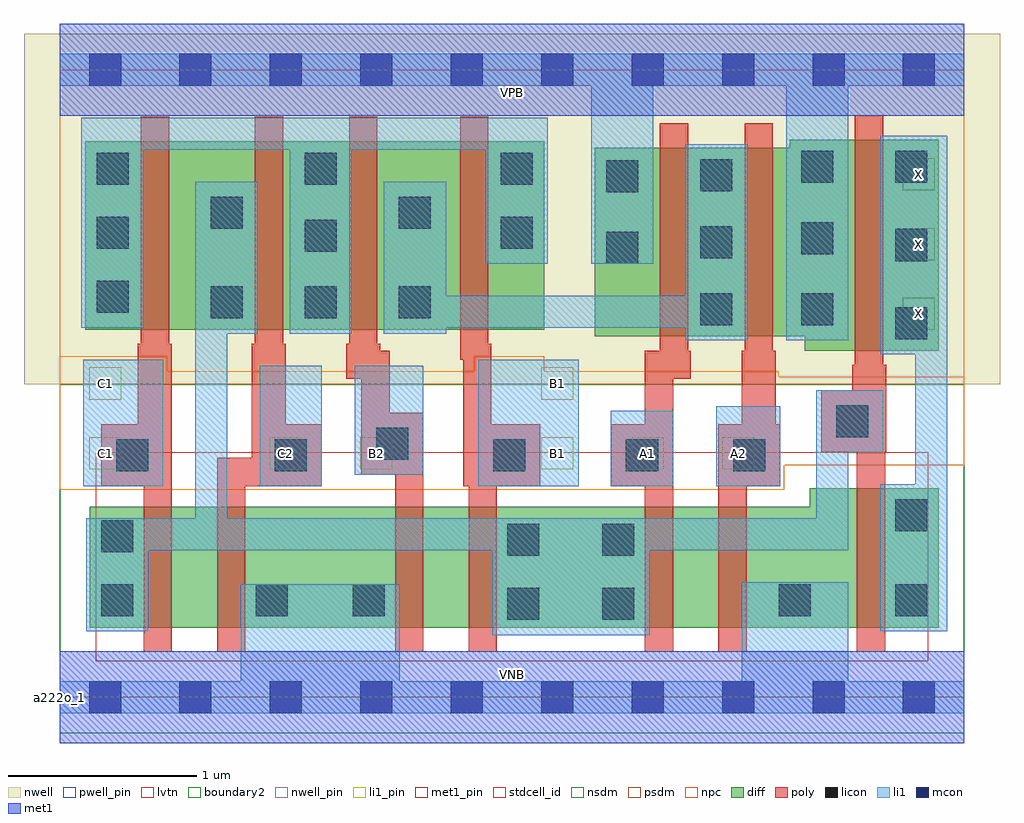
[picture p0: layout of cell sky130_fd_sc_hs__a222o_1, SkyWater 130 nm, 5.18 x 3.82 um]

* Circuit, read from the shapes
.subckt sky130_fd_sc_hs__a222o_1 A1 A2 B1 B2 C1 C2 VGND VNB VPB VPWR X
XM1 n1 C1 n2 VNB sky130_fd_pr__nfet_01v8_lvt w=0.64 l=0.15
XM2 VGND C2 n1 VNB sky130_fd_pr__nfet_01v8_lvt w=0.64 l=0.15
XM3 n3 B2 VGND VNB sky130_fd_pr__nfet_01v8_lvt w=0.64 l=0.15
XM4 n2 B1 n3 VNB sky130_fd_pr__nfet_01v8_lvt w=0.64 l=0.15
XM5 n4 A1 n2 VNB sky130_fd_pr__nfet_01v8_lvt w=0.64 l=0.15
XM6 VGND A2 n4 VNB sky130_fd_pr__nfet_01v8_lvt w=0.64 l=0.15
XM7 X n2 VGND VNB sky130_fd_pr__nfet_01v8_lvt w=0.74 l=0.15
XM8 n2 C1 n5 VPB sky130_fd_pr__pfet_01v8 w=1 l=0.15
XM9 n5 C2 n2 VPB sky130_fd_pr__pfet_01v8 w=1 l=0.15
XM10 n6 B2 n5 VPB sky130_fd_pr__pfet_01v8 w=1 l=0.15
XM11 n5 B1 n6 VPB sky130_fd_pr__pfet_01v8 w=1 l=0.15
XM12 n6 A1 VPWR VPB sky130_fd_pr__pfet_01v8 w=1 l=0.15
XM13 VPWR A2 n6 VPB sky130_fd_pr__pfet_01v8 w=1 l=0.15
XM14 X n2 VPWR VPB sky130_fd_pr__pfet_01v8 w=1.12 l=0.15
.ends

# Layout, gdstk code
import gdstk
lib = gdstk.Library(unit=1e-6, precision=1e-09)
def R(c, l, rs):  # rectangles x0, y0, x1, y1
    for r in rs: c.add(gdstk.rectangle(r[:2], r[2:], *l))
def A(c, l, x, y, w, h, nx, ny, dx, dy):  # array of equal rectangles
    R(c, l, [(x+i*dx, y+j*dy, x+i*dx+w, y+j*dy+h) for i in range(nx) for j in range(ny)])
def P(c, l, *ps):  # polygons
    for p in ps: c.add(gdstk.Polygon(p, *l))
nwell_pin = (64, 16)
nwell = (64, 20)
diff = (65, 20)
poly = (66, 20)
licon = (66, 44)
li1_pin = (67, 16)
li1 = (67, 20)
mcon = (67, 44)
met1_pin = (68, 16)
met1 = (68, 20)
stdcell_id = (81, 4)
nsdm = (93, 44)
psdm = (94, 20)
npc = (95, 20)
pwell_pin = (122, 16)
lvtn = (125, 44)
boundary2 = (236, 0)

sky130_fd_sc_hs__a222o_1 = lib.new_cell('sky130_fd_sc_hs__a222o_1')
R(sky130_fd_sc_hs__a222o_1, nwell_pin, [(0,3.085,4.8,3.33)])
R(sky130_fd_sc_hs__a222o_1, nwell, [(-0.19,1.66,4.99,3.52)])
R(sky130_fd_sc_hs__a222o_1, diff, [(0.135,1.95,2.57,2.95)])
P(sky130_fd_sc_hs__a222o_1, diff, [(4.665,2.96),(3.875,2.96),(3.875,2.915),(2.84,2.915),(2.84,1.915),(3.955,1.915),(3.955,1.84),(4.665,1.84)],
  [(4.665,1.11),(3.98,1.11),(3.98,1.01),(0.16,1.01),(0.16,0.37),(4.665,0.37)])
P(sky130_fd_sc_hs__a222o_1, poly, [(3.35,1.84),(3.335,1.84),(3.335,3.045),(3.185,3.045),(3.185,1.84),(3.105,1.84),(3.105,1.45),(2.925,1.45),(2.925,1.12),(3.105,1.12),(3.105,0.24),(3.255,0.24),(3.255,1.69),(3.35,1.69)],
  [(3.825,1.45),(3.8,1.45),(3.8,1.84),(3.785,1.84),(3.785,3.045),(3.635,3.045),(3.635,1.84),(3.62,1.84),(3.62,1.45),(3.495,1.45),(3.495,0.24),(3.645,0.24),(3.645,1.12),(3.825,1.12)],
  [(4.385,1.765),(4.37,1.765),(4.37,3.09),(4.22,3.09),(4.22,1.765),(4.205,1.765),(4.205,1.63),(4.04,1.63),(4.04,1.3),(4.23,1.3),(4.23,0.24),(4.38,0.24),(4.38,1.3),(4.385,1.3)],
  [(0.595,1.875),(0.58,1.875),(0.58,3.08),(0.43,3.08),(0.43,1.875),(0.415,1.875),(0.415,1.45),(0.22,1.45),(0.22,1.12),(0.445,1.12),(0.445,0.24),(0.595,0.24)],
  [(1.39,1.45),(1.2,1.45),(1.2,1.875),(1.185,1.875),(1.185,3.08),(1.035,3.08),(1.035,1.875),(1.02,1.875),(1.02,1.27),(0.835,1.27),(0.835,0.24),(0.985,0.24),(0.985,1.12),(1.39,1.12)],
  [(1.93,1.51),(1.75,1.51),(1.75,1.84),(1.7,1.84),(1.7,1.875),(1.685,1.875),(1.685,3.08),(1.535,3.08),(1.535,1.875),(1.52,1.875),(1.52,1.69),(1.6,1.69),(1.6,1.18),(1.78,1.18),(1.78,0.24),(1.93,0.24)],
  [(2.55,1.45),(2.29,1.45),(2.29,1.875),(2.275,1.875),(2.275,3.08),(2.125,3.08),(2.125,1.79),(2.14,1.79),(2.14,1.12),(2.17,1.12),(2.17,0.24),(2.32,0.24),(2.32,1.12),(2.55,1.12)])
A(sky130_fd_sc_hs__a222o_1, licon, 4.435, 1.9, 0.17, 0.17, 1, 3, 0, 0.415)
A(sky130_fd_sc_hs__a222o_1, licon, 3.4, 1.975, 0.17, 0.17, 1, 3, 0, 0.355)
A(sky130_fd_sc_hs__a222o_1, licon, 0.8, 2.01, 0.17, 0.17, 3, 1, 0.5, 0)
A(sky130_fd_sc_hs__a222o_1, licon, 0.195, 2.04, 0.17, 0.17, 1, 3, 0, 0.34)
R(sky130_fd_sc_hs__a222o_1, licon, [(2.375,0.41,2.545,0.58), (2.88,0.41,3.05,0.58), (0.22,0.43,0.39,0.6), (1.04,0.43,1.21,0.6), (1.555,0.43,1.725,0.6), (3.815,0.43,3.985,0.6), (4.435,0.43,4.605,0.6), (2.375,0.75,2.545,0.92), (2.88,0.75,3.05,0.92), (0.22,0.77,0.39,0.94), (4.435,0.88,4.605,1.05), (0.3,1.2,0.47,1.37), (1.14,1.2,1.31,1.37), (2.3,1.2,2.47,1.37), (3.005,1.2,3.175,1.37), (3.575,1.2,3.745,1.37), (1.68,1.26,1.85,1.43), (4.12,1.38,4.29,1.55), (3.935,1.975,4.105,2.145), (2.9,2.3,3.07,2.47), (3.935,2.35,4.105,2.52), (1.3,2.365,1.47,2.535), (2.34,2.38,2.51,2.55), (0.8,2.485,0.97,2.655), (1.8,2.485,1.97,2.655), (2.9,2.68,3.07,2.85), (1.3,2.72,1.47,2.89), (2.34,2.72,2.51,2.89), (3.935,2.73,4.105,2.9)])
A(sky130_fd_sc_hs__a222o_1, li1_pin, 2.555, 1.21, 0.17, 0.17, 3, 1, 0.48, 0)
A(sky130_fd_sc_hs__a222o_1, li1_pin, 4.475, 1.95, 0.17, 0.17, 1, 3, 0, 0.37)
R(sky130_fd_sc_hs__a222o_1, li1_pin, [(0.155,1.21,0.325,1.38), (1.115,1.21,1.285,1.38), (1.595,1.21,1.765,1.38), (0.155,1.58,0.325,1.75), (2.555,1.58,2.725,1.75)])
R(sky130_fd_sc_hs__a222o_1, li1, [(0.125,1.12,0.55,1.79), (1.06,1.12,1.39,1.76), (2.22,1.12,2.755,1.79), (2.925,1.12,3.255,1.52), (3.485,1.12,3.825,1.545), (1.565,1.18,1.93,1.76)])
P(sky130_fd_sc_hs__a222o_1, li1, [(2.82,2.3),(2.82,3.245),(0,3.245),(0,3.415),(4.8,3.415),(4.8,3.245),(4.185,3.245),(4.185,1.895),(3.855,1.895),(3.855,3.245),(3.15,3.245),(3.15,2.3)],
  [(3.62,0.085),(3.62,0.61),(4.185,0.61),(4.185,0.085),(4.8,0.085),(4.8,-0.085),(0,-0.085),(0,0.085),(0.96,0.085),(0.96,0.6),(1.805,0.6),(1.805,0.085)],
  [(4.185,0.78),(3.13,0.78),(3.13,0.33),(2.295,0.33),(2.295,0.78),(0.47,0.78),(0.47,0.35),(0.14,0.35),(0.14,0.95),(0.72,0.95),(0.72,2.735),(1.05,2.735),(1.05,1.93),(0.89,1.93),(0.89,0.95),(4.015,0.95),(4.015,1.63),(4.37,1.63),(4.37,1.3),(4.185,1.3)],
  [(4.355,1.82),(4.355,2.98),(4.71,2.98),(4.71,0.35),(4.355,0.35),(4.355,1.13),(4.54,1.13),(4.54,1.82)],
  [(1.22,1.93),(1.22,2.905),(0.445,2.905),(0.445,1.96),(0.115,1.96),(0.115,3.075),(2.59,3.075),(2.59,2.3),(2.26,2.3),(2.26,2.905),(1.55,2.905),(1.55,1.93)],
  [(3.32,1.895),(3.32,1.96),(2.05,1.96),(2.05,1.93),(1.72,1.93),(1.72,2.735),(2.05,2.735),(2.05,2.13),(3.32,2.13),(3.32,2.935),(3.65,2.935),(3.65,1.895)])
A(sky130_fd_sc_hs__a222o_1, mcon, 0.155, -0.085, 0.17, 0.17, 10, 2, 0.48, 3.33)
R(sky130_fd_sc_hs__a222o_1, met1_pin, [(0,0,4.8,0.245), (0,3.085,4.8,3.33)])
R(sky130_fd_sc_hs__a222o_1, met1, [(0,-0.245,4.8,0.245), (0,3.085,4.8,3.575)])
R(sky130_fd_sc_hs__a222o_1, stdcell_id, [(0,0,4.8,3.33)])
R(sky130_fd_sc_hs__a222o_1, nsdm, [(0,-0.19,4.8,1.66)])
R(sky130_fd_sc_hs__a222o_1, psdm, [(0,1.66,4.8,3.52)])
P(sky130_fd_sc_hs__a222o_1, npc, [(4.8,1.7),(3.815,1.7),(3.815,1.73),(2.57,1.73),(2.57,1.81),(2.2,1.81),(2.2,1.73),(0.57,1.73),(0.57,1.81),(0,1.81),(0,1.1),(3.845,1.1),(3.845,1.23),(4.8,1.23)])
R(sky130_fd_sc_hs__a222o_1, pwell_pin, [(0,0,4.8,0.245)])
R(sky130_fd_sc_hs__a222o_1, lvtn, [(0.19,0.19,4.61,1.3)])
R(sky130_fd_sc_hs__a222o_1, boundary2, [(0,0,4.8,3.33)])
sky130_fd_sc_hs__a222o_1.add(gdstk.Label('a222o_1', (0,0), layer=83, texttype=44))
sky130_fd_sc_hs__a222o_1.add(gdstk.Label('VNB', (2.4,0.123), layer=64, texttype=59))
sky130_fd_sc_hs__a222o_1.add(gdstk.Label('VPB', (2.4,3.208), layer=64, texttype=5))
sky130_fd_sc_hs__a222o_1.add(gdstk.Label('VPWR', (2.4,3.208), layer=68, texttype=5))
sky130_fd_sc_hs__a222o_1.add(gdstk.Label('VGND', (2.4,0.123), layer=68, texttype=5))
sky130_fd_sc_hs__a222o_1.add(gdstk.Label('C2', (1.2,1.295), layer=67, texttype=5))
sky130_fd_sc_hs__a222o_1.add(gdstk.Label('X', (4.56,2.035), layer=67, texttype=5))
sky130_fd_sc_hs__a222o_1.add(gdstk.Label('X', (4.56,2.405), layer=67, texttype=5))
sky130_fd_sc_hs__a222o_1.add(gdstk.Label('X', (4.56,2.775), layer=67, texttype=5))
sky130_fd_sc_hs__a222o_1.add(gdstk.Label('C1', (0.24,1.295), layer=67, texttype=5))
sky130_fd_sc_hs__a222o_1.add(gdstk.Label('C1', (0.24,1.665), layer=67, texttype=5))
sky130_fd_sc_hs__a222o_1.add(gdstk.Label('B2', (1.68,1.295), layer=67, texttype=5))
sky130_fd_sc_hs__a222o_1.add(gdstk.Label('A2', (3.6,1.295), layer=67, texttype=5))
sky130_fd_sc_hs__a222o_1.add(gdstk.Label('A1', (3.12,1.295), layer=67, texttype=5))
sky130_fd_sc_hs__a222o_1.add(gdstk.Label('B1', (2.64,1.295), layer=67, texttype=5))
sky130_fd_sc_hs__a222o_1.add(gdstk.Label('B1', (2.64,1.665), layer=67, texttype=5))

lib.write_gds('sky130_fd_sc_hs__a222o_1.gds')
